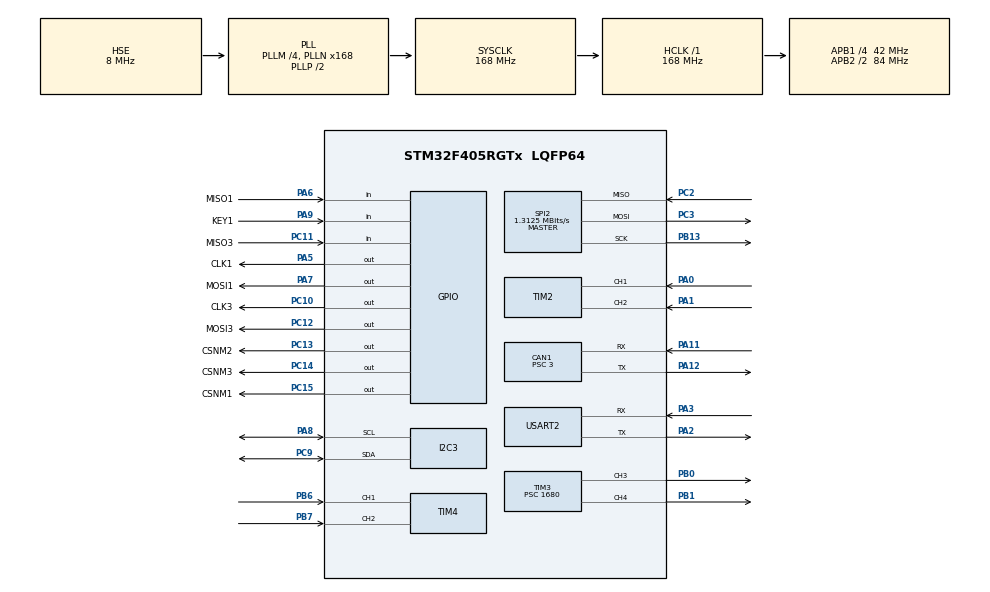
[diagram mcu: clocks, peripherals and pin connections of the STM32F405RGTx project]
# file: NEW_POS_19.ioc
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CAN1.BS1=CAN_BS1_9TQ
CAN1.BS2=CAN_BS2_4TQ
CAN1.CalculateTimeQuantum=71.42857142857143
CAN1.Prescaler=3
CAN1.SJW=CAN_SJW_1TQ
Dma.Request0=USART2_RX
Dma.Request1=USART2_TX
Dma.USART2_RX.0.Direction=DMA_PERIPH_TO_MEMORY
Dma.USART2_RX.0.FIFOMode=DMA_FIFOMODE_DISABLE
Dma.USART2_RX.0.Instance=DMA1_Stream5
Dma.USART2_RX.0.MemDataAlignment=DMA_MDATAALIGN_BYTE
Dma.USART2_RX.0.MemInc=DMA_MINC_ENABLE
Dma.USART2_RX.0.Mode=DMA_CIRCULAR
Dma.USART2_RX.0.PeriphDataAlignment=DMA_PDATAALIGN_BYTE
Dma.USART2_RX.0.PeriphInc=DMA_PINC_DISABLE
Dma.USART2_RX.0.Priority=DMA_PRIORITY_LOW
Dma.USART2_TX.1.Direction=DMA_MEMORY_TO_PERIPH
Dma.USART2_TX.1.FIFOMode=DMA_FIFOMODE_DISABLE
Dma.USART2_TX.1.Instance=DMA1_Stream6
Dma.USART2_TX.1.MemDataAlignment=DMA_MDATAALIGN_BYTE
Dma.USART2_TX.1.MemInc=DMA_MINC_ENABLE
Dma.USART2_TX.1.Mode=DMA_NORMAL
Dma.USART2_TX.1.PeriphDataAlignment=DMA_PDATAALIGN_BYTE
Dma.USART2_TX.1.PeriphInc=DMA_PINC_DISABLE
Dma.USART2_TX.1.Priority=DMA_PRIORITY_LOW
Mcu.Family=STM32F4
Mcu.Name=STM32F405RGTx
Mcu.Package=LQFP64
NVIC.CAN1_RX0_IRQn=true\:0\:0\:false\:false\:true\:true\:true
NVIC.CAN1_RX1_IRQn=true\:0\:0\:false\:false\:true\:true\:true
NVIC.CAN1_SCE_IRQn=true\:0\:0\:false\:false\:true\:true\:true
NVIC.DMA1_Stream5_IRQn=true\:0\:0\:false\:false\:true\:false\:true
NVIC.DMA1_Stream6_IRQn=true\:0\:0\:false\:false\:true\:false\:true
NVIC.PriorityGroup=NVIC_PRIORITYGROUP_4
NVIC.USART2_IRQn=true\:0\:0\:false\:false\:true\:true\:true
PA0-WKUP.Signal=S_TIM2_CH1_ETR
PA1.Signal=S_TIM2_CH2
PA11.Mode=Master
PA11.Signal=CAN1_RX
PA12.Mode=Master
PA12.Signal=CAN1_TX
PA13.Mode=Serial_Wire
PA13.Signal=SYS_JTMS-SWDIO
PA14.Mode=Serial_Wire
PA14.Signal=SYS_JTCK-SWCLK
PA2.Mode=Asynchronous
PA2.Signal=USART2_TX
PA3.Mode=Asynchronous
PA3.Signal=USART2_RX
PA5.GPIO_Label=CLK1
PA5.Signal=GPIO_Output
PA6.GPIO_Label=MISO1
PA6.Signal=GPIO_Input
PA7.GPIO_Label=MOSI1
PA7.Signal=GPIO_Output
PA8.Mode=I2C
PA8.Signal=I2C3_SCL
PA9.GPIO_Label=KEY1
PA9.GPIO_PuPd=GPIO_PULLUP
PA9.Signal=GPIO_Input
PB0.Signal=S_TIM3_CH3
PB1.Signal=S_TIM3_CH4
PB13.Mode=Full_Duplex_Master
PB13.Signal=SPI2_SCK
PB6.Signal=S_TIM4_CH1
PB7.Signal=S_TIM4_CH2
PC10.GPIO_Label=CLK3
PC10.Signal=GPIO_Output
PC11.GPIO_Label=MISO3
PC11.Signal=GPIO_Input
PC12.GPIO_Label=MOSI3
PC12.Signal=GPIO_Output
PC13-ANTI_TAMP.GPIO_Label=CSNM2
PC13-ANTI_TAMP.Signal=GPIO_Output
PC14-OSC32_IN.GPIO_Label=CSNM3
PC14-OSC32_IN.Signal=GPIO_Output
PC15-OSC32_OUT.GPIO_Label=CSNM1
PC15-OSC32_OUT.Signal=GPIO_Output
PC2.Mode=Full_Duplex_Master
PC2.Signal=SPI2_MISO
PC3.Mode=Full_Duplex_Master
PC3.Signal=SPI2_MOSI
PC9.Mode=I2C
PC9.Signal=I2C3_SDA
PH0-OSC_IN.Mode=HSE-External-Oscillator
PH0-OSC_IN.Signal=RCC_OSC_IN
PH1-OSC_OUT.Mode=HSE-External-Oscillator
PH1-OSC_OUT.Signal=RCC_OSC_OUT
ProjectManager.HeapSize=0x1000
ProjectManager.StackSize=0x400
ProjectManager.TargetToolchain=EWARM V8
RCC.48MHZClocksFreq_Value=84000000
RCC.AHBFreq_Value=168000000
RCC.APB1CLKDivider=RCC_HCLK_DIV4
RCC.APB1Freq_Value=42000000
RCC.APB1TimFreq_Value=84000000
RCC.APB2CLKDivider=RCC_HCLK_DIV2
RCC.APB2Freq_Value=84000000
RCC.APB2TimFreq_Value=168000000
RCC.CortexFreq_Value=168000000
RCC.HCLKFreq_Value=168000000
RCC.HSE_VALUE=8000000
RCC.HSI_VALUE=16000000
RCC.LSE_VALUE=32768
RCC.PLLM=4
RCC.PLLN=168
RCC.PLLSourceVirtual=RCC_PLLSOURCE_HSE
RCC.SYSCLKFreq_VALUE=168000000
RCC.SYSCLKSource=RCC_SYSCLKSOURCE_PLLCLK
RCC.VCOOutputFreq_Value=336000000
SH.S_TIM2_CH1_ETR.0=TIM2_CH1,Encoder_Interface
SH.S_TIM2_CH2.0=TIM2_CH2,Encoder_Interface
SH.S_TIM3_CH3.0=TIM3_CH3,PWM Generation3 CH3
SH.S_TIM3_CH4.0=TIM3_CH4,PWM Generation4 CH4
SH.S_TIM4_CH1.0=TIM4_CH1,Encoder_Interface
SH.S_TIM4_CH2.0=TIM4_CH2,Encoder_Interface
SPI2.BaudRatePrescaler=SPI_BAUDRATEPRESCALER_32
SPI2.CLKPhase=SPI_PHASE_2EDGE
SPI2.CLKPolarity=SPI_POLARITY_HIGH
SPI2.CalculateBaudRate=1.3125 MBits/s
SPI2.DataSize=SPI_DATASIZE_8BIT
SPI2.Direction=SPI_DIRECTION_2LINES
SPI2.Mode=SPI_MODE_MASTER
SPI2.VirtualType=VM_MASTER
TIM3.AutoReloadPreload=TIM_AUTORELOAD_PRELOAD_ENABLE
TIM3.Channel-PWM\ Generation3\ CH3=TIM_CHANNEL_3
TIM3.Channel-PWM\ Generation4\ CH4=TIM_CHANNEL_4
TIM3.Period=100-1
TIM3.Prescaler=1680
TIM6.Period=65535
TIM6.Prescaler=83
USART2.VirtualMode=VM_ASYNC
VP_TIM3_VS_ClockSourceINT.Mode=Internal
VP_TIM6_VS_ClockSourceINT.Mode=Enable_Timer
board=custom

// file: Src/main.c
/* USER CODE BEGIN Header */
/**
******************************************************************************
* @file           : main.c
* @brief          : Main program body
******************************************************************************
* @attention
*
* <h2><center>&copy; Copyright (c) 2019 STMicroelectronics.
* All rights reserved.</center></h2>
*
* This software component is licensed by ST under BSD 3-Clause license,
* the "License"; You may not use this file except in compliance with the
* License. You may obtain a copy of the License at:
*                        opensource.org/licenses/BSD-3-Clause
*
******************************************************************************
*/
/* USER CODE END Header */

#include "main.h"
#include "can.h"
#include "dma.h"
#include "i2c.h"
#include "spi.h"
#include "tim.h"
#include "usart.h"
#include "gpio.h"

/* USER CODE BEGIN Includes */
#include "simplelib.h"
#include "flash.h"
#include "can_utils.h"
#include "can_func.h"
#include "calculate.h"
#include "as5047p.h"
#include "read_data_simple.h"
/* USER CODE END Includes */

/* USER CODE BEGIN PV */
void flag_init();
void flag_task();
/* USER CODE END PV */

void SystemClock_Config(void);

/* USER CODE BEGIN 0 */
Flag flag;
static uint32_t time_ms = 0;

/* USER CODE END 0 */

int main(void)
{

  /* MCU Configuration--------------------------------------------------------*/

  /* Reset of all peripherals, Initializes the Flash interface and the Systick. */
  HAL_Init();

  /* Configure the system clock */
  SystemClock_Config();

  /* Initialize all configured peripherals */
  MX_GPIO_Init();
  MX_DMA_Init();
  MX_CAN1_Init();
  MX_I2C3_Init();
  MX_SPI2_Init();
  MX_TIM2_Init();
  MX_TIM3_Init();
  MX_TIM4_Init();
  MX_USART2_UART_Init();
  MX_TIM6_Init();
  /* USER CODE BEGIN 2 */

  simplelib_init(&huart2, &hcan1);
  //load_prams();
  flag_init();
  asm330lhh_init();
  as5047p_init();
  uprintf("Init finish!\r\n");

  /* USER CODE END 2 */

  /* Infinite loop */
  /* USER CODE BEGIN WHILE */
  while (1)
  {
    simplelib_run();
    flag_task();
    /* USER CODE END WHILE */
  }
}
void SystemClock_Config(void)
{
  RCC_OscInitTypeDef RCC_OscInitStruct = {0};
  RCC_ClkInitTypeDef RCC_ClkInitStruct = {0};

  /** Configure the main internal regulator output voltage
  */
  __HAL_RCC_PWR_CLK_ENABLE();
  __HAL_PWR_VOLTAGESCALING_CONFIG(PWR_REGULATOR_VOLTAGE_SCALE1);
  /** Initializes the CPU, AHB and APB busses clocks
  */
  RCC_OscInitStruct.OscillatorType = RCC_OSCILLATORTYPE_HSE;
  RCC_OscInitStruct.HSEState = RCC_HSE_ON;
  RCC_OscInitStruct.PLL.PLLState = RCC_PLL_ON;
  RCC_OscInitStruct.PLL.PLLSource = RCC_PLLSOURCE_HSE;
  RCC_OscInitStruct.PLL.PLLM = 4;
  RCC_OscInitStruct.PLL.PLLN = 168;
  RCC_OscInitStruct.PLL.PLLP = RCC_PLLP_DIV2;
  RCC_OscInitStruct.PLL.PLLQ = 4;
  if (HAL_RCC_OscConfig(&RCC_OscInitStruct) != HAL_OK)
  {
    Error_Handler();
  }
  /** Initializes the CPU, AHB and APB busses clocks
  */
  RCC_ClkInitStruct.ClockType = RCC_CLOCKTYPE_HCLK|RCC_CLOCKTYPE_SYSCLK
                              |RCC_CLOCKTYPE_PCLK1|RCC_CLOCKTYPE_PCLK2;
  RCC_ClkInitStruct.SYSCLKSource = RCC_SYSCLKSOURCE_PLLCLK;
  RCC_ClkInitStruct.AHBCLKDivider = RCC_SYSCLK_DIV1;
  RCC_ClkInitStruct.APB1CLKDivider = RCC_HCLK_DIV4;
  RCC_ClkInitStruct.APB2CLKDivider = RCC_HCLK_DIV2;

  if (HAL_RCC_ClockConfig(&RCC_ClkInitStruct, FLASH_LATENCY_5) != HAL_OK)
  {
    Error_Handler();
  }
}
/* USER CODE BEGIN 4 */
void flag_init(){

  flag._5ms=0;
  flag._50ms=0;
  flag._500ms=0;
  flag._1s=0;
  flag.wave=0;
}
void flag_inc(void){
  time_ms++;
  if (time_ms%5 == 0){
    flag._5ms = 1;
  }
  if (time_ms%50 == 0){
    flag._50ms = 1;
  }
  if (time_ms%500 == 0){
    flag._500ms = 1;
  }
  if (time_ms%1000 == 0){
    flag._1s = 1;
  }
  if(time_ms>=60000){
    time_ms=0;
  }
}
void flag_task(){
  if(flag._5ms == 1){
    flag._5ms=0;
    Get_Yaw_angle();
    Get_Wheel_x();
    Get_Wheel_y();
    calcul_XY();
    if(flag.wave==1){
      send_wave(position.world_x,0,position.world_y,position.world_yaw);
    }
    // if(test_flag_value[0] == 1){
    //   uprintf("%6f\r\n",angle.yawangle[2]);
    //   test_flag_value[0] = 0;
    // }
  }
  if(flag._50ms==1){
    flag._50ms=0;
  }
  if(flag._500ms==1){
    flag._500ms=0;
  }
  if(flag._1s==1){
    flag._1s=0;
  }
}
/* USER CODE END 4 */

void Error_Handler(void)
{
}

/************************ (C) COPYRIGHT STMicroelectronics *****END OF FILE****/
